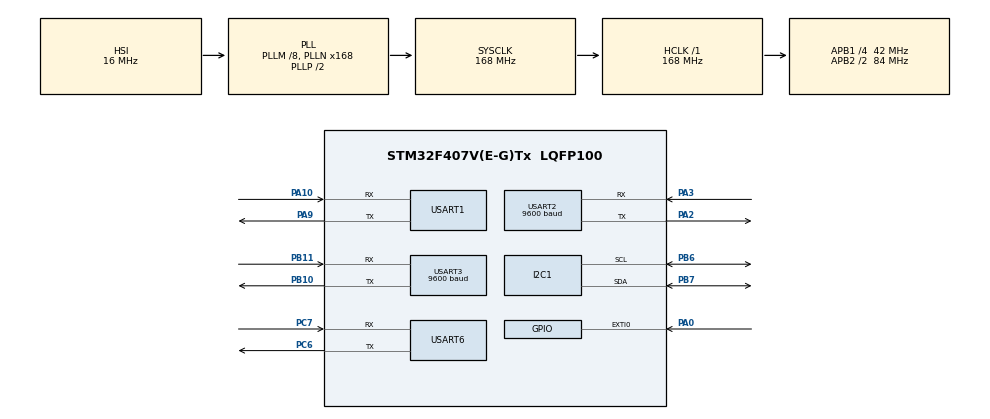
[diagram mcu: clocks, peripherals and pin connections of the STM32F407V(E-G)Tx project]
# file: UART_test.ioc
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Dma.Request0=USART2_RX
Dma.Request1=USART2_TX
Dma.Request2=USART6_RX
Dma.Request3=USART6_TX
Dma.USART2_RX.0.Direction=DMA_PERIPH_TO_MEMORY
Dma.USART2_RX.0.FIFOMode=DMA_FIFOMODE_DISABLE
Dma.USART2_RX.0.Instance=DMA1_Stream5
Dma.USART2_RX.0.MemDataAlignment=DMA_MDATAALIGN_BYTE
Dma.USART2_RX.0.MemInc=DMA_MINC_ENABLE
Dma.USART2_RX.0.Mode=DMA_NORMAL
Dma.USART2_RX.0.PeriphDataAlignment=DMA_PDATAALIGN_BYTE
Dma.USART2_RX.0.PeriphInc=DMA_PINC_DISABLE
Dma.USART2_RX.0.Priority=DMA_PRIORITY_HIGH
Dma.USART2_TX.1.Direction=DMA_MEMORY_TO_PERIPH
Dma.USART2_TX.1.FIFOMode=DMA_FIFOMODE_DISABLE
Dma.USART2_TX.1.Instance=DMA1_Stream6
Dma.USART2_TX.1.MemDataAlignment=DMA_MDATAALIGN_BYTE
Dma.USART2_TX.1.MemInc=DMA_MINC_ENABLE
Dma.USART2_TX.1.Mode=DMA_NORMAL
Dma.USART2_TX.1.PeriphDataAlignment=DMA_PDATAALIGN_BYTE
Dma.USART2_TX.1.PeriphInc=DMA_PINC_DISABLE
Dma.USART2_TX.1.Priority=DMA_PRIORITY_HIGH
Dma.USART6_RX.2.Direction=DMA_PERIPH_TO_MEMORY
Dma.USART6_RX.2.FIFOMode=DMA_FIFOMODE_DISABLE
Dma.USART6_RX.2.Instance=DMA2_Stream1
Dma.USART6_RX.2.MemDataAlignment=DMA_MDATAALIGN_BYTE
Dma.USART6_RX.2.MemInc=DMA_MINC_ENABLE
Dma.USART6_RX.2.Mode=DMA_NORMAL
Dma.USART6_RX.2.PeriphDataAlignment=DMA_PDATAALIGN_BYTE
Dma.USART6_RX.2.PeriphInc=DMA_PINC_DISABLE
Dma.USART6_RX.2.Priority=DMA_PRIORITY_LOW
Dma.USART6_TX.3.Direction=DMA_MEMORY_TO_PERIPH
Dma.USART6_TX.3.FIFOMode=DMA_FIFOMODE_DISABLE
Dma.USART6_TX.3.Instance=DMA2_Stream6
Dma.USART6_TX.3.MemDataAlignment=DMA_MDATAALIGN_BYTE
Dma.USART6_TX.3.MemInc=DMA_MINC_ENABLE
Dma.USART6_TX.3.Mode=DMA_NORMAL
Dma.USART6_TX.3.PeriphDataAlignment=DMA_PDATAALIGN_BYTE
Dma.USART6_TX.3.PeriphInc=DMA_PINC_DISABLE
Dma.USART6_TX.3.Priority=DMA_PRIORITY_LOW
Mcu.Family=STM32F4
Mcu.Name=STM32F407V(E-G)Tx
Mcu.Package=LQFP100
NVIC.DMA1_Stream5_IRQn=true\:0\:0\:false\:false\:true\:false\:true\:true
NVIC.DMA1_Stream6_IRQn=true\:0\:0\:false\:false\:true\:false\:true\:true
NVIC.DMA2_Stream1_IRQn=true\:0\:0\:false\:false\:true\:false\:true\:true
NVIC.DMA2_Stream6_IRQn=true\:0\:0\:false\:false\:true\:false\:true\:true
NVIC.EXTI0_IRQn=true\:0\:0\:false\:false\:true\:true\:true\:true
NVIC.PriorityGroup=NVIC_PRIORITYGROUP_4
NVIC.TIM1_BRK_TIM9_IRQn=true\:1\:0\:true\:false\:true\:true\:true\:true
NVIC.USART1_IRQn=true\:2\:0\:true\:false\:true\:true\:true\:true
NVIC.USART2_IRQn=true\:1\:0\:true\:false\:true\:true\:true\:true
NVIC.USART3_IRQn=true\:3\:0\:true\:false\:true\:true\:true\:true
PA0-WKUP.GPIO_PuPd=GPIO_PULLDOWN
PA0-WKUP.Signal=GPXTI0
PA10.Mode=Asynchronous
PA10.Signal=USART1_RX
PA13.Mode=Serial_Wire
PA13.Signal=SYS_JTMS-SWDIO
PA14.Mode=Serial_Wire
PA14.Signal=SYS_JTCK-SWCLK
PA2.Mode=Asynchronous
PA2.Signal=USART2_TX
PA3.Mode=Asynchronous
PA3.Signal=USART2_RX
PA9.Mode=Asynchronous
PA9.Signal=USART1_TX
PB10.Mode=Asynchronous
PB10.Signal=USART3_TX
PB11.Mode=Asynchronous
PB11.Signal=USART3_RX
PB6.Mode=I2C
PB6.Signal=I2C1_SCL
PB7.Mode=I2C
PB7.Signal=I2C1_SDA
PC6.Mode=Asynchronous
PC6.Signal=USART6_TX
PC7.Mode=Asynchronous
PC7.Signal=USART6_RX
PH0-OSC_IN.Mode=HSE-External-Oscillator
PH0-OSC_IN.Signal=RCC_OSC_IN
PH1-OSC_OUT.Mode=HSE-External-Oscillator
PH1-OSC_OUT.Signal=RCC_OSC_OUT
ProjectManager.HeapSize=0x200
ProjectManager.StackSize=0x400
ProjectManager.TargetToolchain=MDK-ARM V5
RCC.48MHZClocksFreq_Value=84000000
RCC.AHBFreq_Value=168000000
RCC.APB1CLKDivider=RCC_HCLK_DIV4
RCC.APB1Freq_Value=42000000
RCC.APB1TimFreq_Value=84000000
RCC.APB2CLKDivider=RCC_HCLK_DIV2
RCC.APB2Freq_Value=84000000
RCC.APB2TimFreq_Value=168000000
RCC.CortexFreq_Value=168000000
RCC.HCLKFreq_Value=168000000
RCC.HSE_VALUE=25000000
RCC.HSI_VALUE=16000000
RCC.LSE_VALUE=32768
RCC.PLLM=8
RCC.PLLN=168
RCC.SYSCLKFreq_VALUE=168000000
RCC.SYSCLKSource=RCC_SYSCLKSOURCE_PLLCLK
RCC.VCOOutputFreq_Value=336000000
TIM9.Period=500-1
TIM9.Prescaler=16800-1
USART1.VirtualMode=VM_ASYNC
USART2.BaudRate=9600
USART2.VirtualMode=VM_ASYNC
USART3.BaudRate=9600
USART3.VirtualMode=VM_ASYNC
USART6.VirtualMode=VM_ASYNC
VP_TIM9_VS_ClockSourceINT.Mode=Internal
board=custom

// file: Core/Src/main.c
/* USER CODE BEGIN Header */
/**
  ******************************************************************************
  * @file           : main.c
  * @brief          : Main program body
  ******************************************************************************
  * @attention
  *
  * Copyright (c) 2023 STMicroelectronics.
  * All rights reserved.
  *
  * This software is licensed under terms that can be found in the LICENSE file
  * in the root directory of this software component.
  * If no LICENSE file comes with this software, it is provided AS-IS.
  *
  ******************************************************************************
  */
/* USER CODE END Header */
#include "main.h"
#include "dma.h"
#include "i2c.h"
#include "tim.h"
#include "usart.h"
#include "gpio.h"

/* USER CODE BEGIN Includes */
#include <stdio.h>
#include <string.h>
#include <stdlib.h>
#include <stdint.h>
#include "oled.h"
#include "AnJian_OLED_Voice.h"
#include "YunTai_UART2.h"
#include "NANO_Tansmit.h"
/* USER CODE END Includes */

/* USER CODE BEGIN PTD */

uint8_t Print_ANGLE[20];//接收串口二获取角度
uint8_t NANO_receive_buff[255];

/////////////////////////////////////////////////////////

int angle_pich,angle_yaw;
int ifstop,meet,meet_last;

/* USER CODE END PTD */

void SystemClock_Config(void);

int main(void)
{

  /* MCU Configuration--------------------------------------------------------*/

  /* Reset of all peripherals, Initializes the Flash interface and the Systick. */
  HAL_Init();

  /* Configure the system clock */
  SystemClock_Config();

  /* Initialize all configured peripherals */
  MX_GPIO_Init();
  MX_DMA_Init();
  MX_USART1_UART_Init();
  MX_I2C1_Init();
  MX_USART3_UART_Init();
  MX_USART2_UART_Init();
  MX_USART6_UART_Init();
  MX_TIM9_Init();
  /* USER CODE BEGIN 2 */
	OLED_Init();
  OLED_Clear();

	angle_pich=1500;
	angle_yaw=1500;
	HAL_TIM_Base_Start_IT(&htim9);

  /* USER CODE END 2 */

  /* Infinite loop */
  while (1)
  {

    /* USER CODE BEGIN 3 */

		HAL_UART_Receive_DMA(&huart6, (uint8_t*)NANO_receive_buff, 20);
		NANO_recieve();//接收像素坐标

		send(000,angle_pich,001,angle_yaw);
		HAL_UART_Receive_DMA(&huart2, (uint8_t*)Print_ANGLE, 20);
		recieve();//接收位置
		OLED_Printf();

  }
  /* USER CODE END 3 */
}

void SystemClock_Config(void)
{
  RCC_OscInitTypeDef RCC_OscInitStruct = {0};
  RCC_ClkInitTypeDef RCC_ClkInitStruct = {0};

  /** Configure the main internal regulator output voltage
  */
  __HAL_RCC_PWR_CLK_ENABLE();
  __HAL_PWR_VOLTAGESCALING_CONFIG(PWR_REGULATOR_VOLTAGE_SCALE1);

  /** Initializes the RCC Oscillators according to the specified parameters
  * in the RCC_OscInitTypeDef structure.
  */
  RCC_OscInitStruct.OscillatorType = RCC_OSCILLATORTYPE_HSI;
  RCC_OscInitStruct.HSIState = RCC_HSI_ON;
  RCC_OscInitStruct.HSICalibrationValue = RCC_HSICALIBRATION_DEFAULT;
  RCC_OscInitStruct.PLL.PLLState = RCC_PLL_ON;
  RCC_OscInitStruct.PLL.PLLSource = RCC_PLLSOURCE_HSI;
  RCC_OscInitStruct.PLL.PLLM = 8;
  RCC_OscInitStruct.PLL.PLLN = 168;
  RCC_OscInitStruct.PLL.PLLP = RCC_PLLP_DIV2;
  RCC_OscInitStruct.PLL.PLLQ = 4;
  if (HAL_RCC_OscConfig(&RCC_OscInitStruct) != HAL_OK)
  {
    Error_Handler();
  }

  /** Initializes the CPU, AHB and APB buses clocks
  */
  RCC_ClkInitStruct.ClockType = RCC_CLOCKTYPE_HCLK|RCC_CLOCKTYPE_SYSCLK
                              |RCC_CLOCKTYPE_PCLK1|RCC_CLOCKTYPE_PCLK2;
  RCC_ClkInitStruct.SYSCLKSource = RCC_SYSCLKSOURCE_PLLCLK;
  RCC_ClkInitStruct.AHBCLKDivider = RCC_SYSCLK_DIV1;
  RCC_ClkInitStruct.APB1CLKDivider = RCC_HCLK_DIV4;
  RCC_ClkInitStruct.APB2CLKDivider = RCC_HCLK_DIV2;

  if (HAL_RCC_ClockConfig(&RCC_ClkInitStruct, FLASH_LATENCY_5) != HAL_OK)
  {
    Error_Handler();
  }
}

/* USER CODE BEGIN 4 */
#pragma import(__use_no_semihosting)
struct __FILE
{
	int handle;
};
FILE __stdout;
void _sys_exit(int x)
{
	x = x;
}
int fputc(int ch, FILE *f)
{
	HAL_UART_Transmit(&huart1,(uint8_t *)&ch,1,1000);
	return ch;
}

/* USER CODE END 4 */

void Error_Handler(void)
{
  __disable_irq();
  while (1)
  {
  }
}
